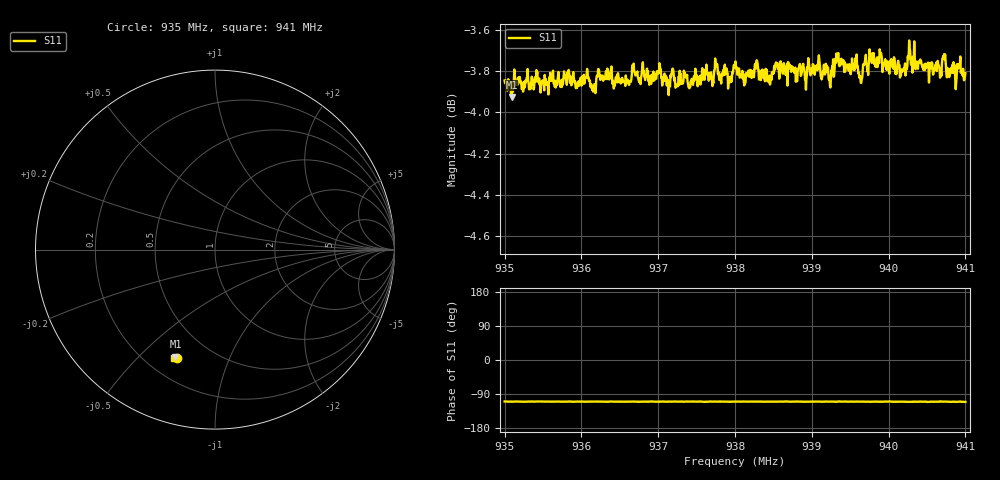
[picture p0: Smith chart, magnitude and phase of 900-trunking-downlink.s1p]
! Calibrated averaged scanner-service zoom
# Hz S RI R 50
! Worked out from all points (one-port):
!   1001 points, 935 MHz to 941 MHz, reference 50 ohm
!   lowest |S11| = -3.9 dB at 935.09 MHz (marker M1), VSWR 4.50, Z = 16.1 - j32.3 ohm
!   |S11| at or under -10 dB: nowhere
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9.35e8  -0.2138 -0.6057
9.3509e8  -0.2207 -0.597
9.35156e8  -0.2139 -0.6043
9.3575e8  -0.2196 -0.604
9.36062e8  -0.2195 -0.6046
9.3617e8  -0.2156 -0.6037
9.36314e8  -0.2217 -0.6052
9.365e8  -0.2176 -0.6045
9.36686e8  -0.2173 -0.6083
9.3725e8  -0.2185 -0.6021
9.37538e8  -0.2141 -0.6046
9.37604e8  -0.2242 -0.6022
9.37706e8  -0.2167 -0.6025
9.37928e8  -0.2212 -0.6021
9.38e8  -0.2188 -0.6092
9.3845e8  -0.2188 -0.6058
9.3854e8  -0.2208 -0.6096
9.38672e8  -0.2144 -0.6083
9.3875e8  -0.219 -0.6085
9.395e8  -0.2187 -0.6087
9.39632e8  -0.2205 -0.6043
9.39896e8  -0.2252 -0.6118
9.39998e8  -0.2179 -0.6107
9.4025e8  -0.2269 -0.6102
9.40436e8  -0.2218 -0.6085
9.4052e8  -0.2269 -0.6055
9.407e8  -0.2207 -0.6117
9.41e8  -0.2259 -0.6041
